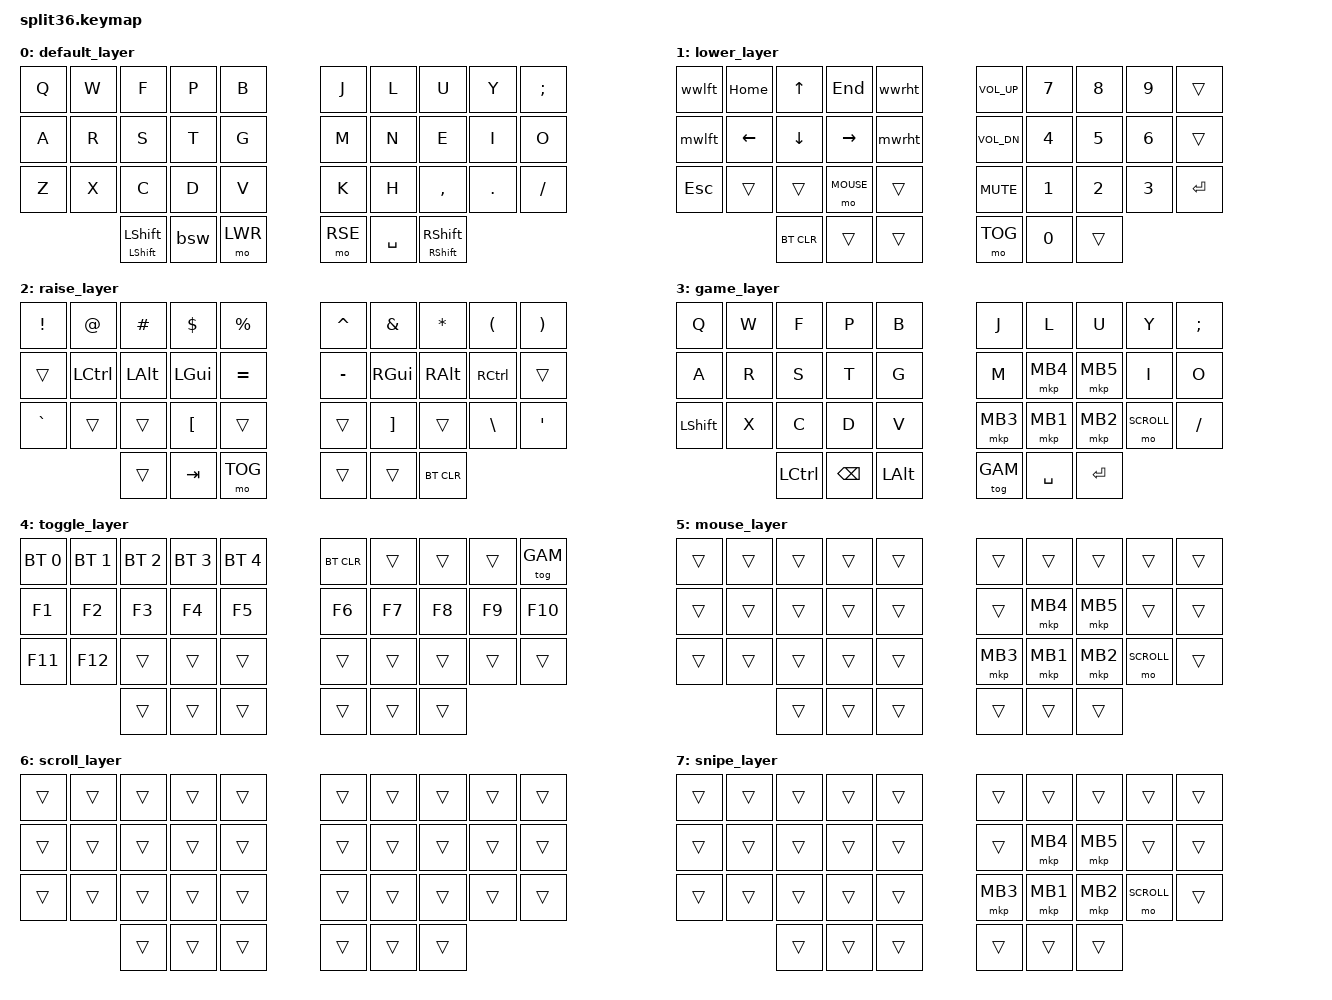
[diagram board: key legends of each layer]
#include <behaviors.dtsi>
#include <dt-bindings/zmk/keys.h>
#include <dt-bindings/zmk/bt.h>
#include <dt-bindings/zmk/outputs.h>
#include <dt-bindings/zmk/pointing.h>
#include <input/processors.dtsi>
#include <dt-bindings/zmk/input_transform.h>

#define LWR 1
#define RSE 2
#define GAM 3
#define TOG 4
#define MOUSE 5
#define SCROLL 6
#define SNIPE 7

&lt {
    tapping-term-ms = <175>;
};

/ {
    combos {
      compatible = "zmk,combos";

      combo_snipe {
        timeout-ms = <50>;
        key-positions = <22 23>;
        bindings = <&mo SNIPE>;
      };
    };
    macros {
      mft: momentary_from_toggle {
        compatible = "zmk,behavior-macro-two-param";
	      wait-ms = <0>;
	      tap-ms = <0>;
	      #binding-cells = <2>;
	      bindings =
		      <&macro_param_1to1>,
		      <&macro_tap &tog MACRO_PLACEHOLDER>,
		      <&macro_param_2to1>,
		      <&macro_press &mo MACRO_PLACEHOLDER>,
		      <&macro_pause_for_release>,
		      <&macro_param_2to1>,
		      <&macro_release &mo MACRO_PLACEHOLDER>,
		      <&macro_param_1to1>,
		      <&macro_tap &tog MACRO_PLACEHOLDER>;
	    };
        mwlft: mac_word_left {
            compatible = "zmk,behavior-macro";
            #binding-cells = <0>;
            bindings =
                <&macro_press &kp LALT>,
                <&macro_tap &kp LEFT>,
                <&macro_release &kp LALT>;
        };
        mwrht: mac_word_right {
            compatible = "zmk,behavior-macro";
            #binding-cells = <0>;
            bindings =
                <&macro_press &kp LALT>,
                <&macro_tap &kp RIGHT>,
                <&macro_release &kp LALT>;
        };
        wwlft: win_word_left {
            compatible = "zmk,behavior-macro";
            #binding-cells = <0>;
            bindings =
                <&macro_press &kp LCTRL>,
                <&macro_tap &kp LEFT>,
                <&macro_release &kp LCTRL>;
        };
        wwrht: win_word_right {
            compatible = "zmk,behavior-macro";
            #binding-cells = <0>;
            bindings =
                <&macro_press &kp LCTRL>,
                <&macro_tap &kp RIGHT>,
                <&macro_release &kp LCTRL>;
        };
        bswu: bspc_word_universal {
            compatible = "zmk,behavior-macro";
            #binding-cells = <0>;
            wait-ms = <5>;
            tap-ms = <5>;
            bindings =
                <&macro_tap &kp LC(BSPC)>,
                <&macro_tap &kp LA(BSPC)>;
        };
    };
    behaviors {
        bsw: bs_word {
            compatible = "zmk,behavior-mod-morph";
            #binding-cells = <0>;
            bindings = <&kp BSPC>, <&bswu>;
            mods = <(MOD_LSFT|MOD_RSFT)>;
        };
        skq: sticky_key_quick {
            compatible = "zmk,behavior-sticky-key";
            #binding-cells = <1>;
            bindings = <&kp>;
            release-after-ms = <1000>;
            quick-release;
        };
        shfmt: shift_mod_tap {
            compatible = "zmk,behavior-hold-tap";
            #binding-cells = <2>;
            flavor = "balanced";
            tapping-term-ms = <160>;
            quick-tap-ms = <125>;
            bindings = <&kp>, <&skq>;
            display-name = "Mod-Tap";
        };
    };
    keymap {
        compatible = "zmk,keymap";

        default_layer {
// -----------------------------------------------------------------
// | Q | W |  F  |  P  |  B  |        |  J  |  L  |  U  | Y | ; |
// | A | R |  S  |  T  |  G  |        |  M  |  N  |  E  | I | O |
// | Z | X |  C  |  D  |  V  |        |  K  |  H  |  ,  | . | / |
//         | SHF | BSP | LWR |        | RSE | SPC | SHF |
            bindings = <
                &kp Q &kp W &kp F &kp P &kp B                 &kp J &kp L &kp U &kp Y &kp SEMI
                &kp A &kp R &kp S &kp T &kp G                 &kp M &kp N &kp E &kp I &kp O
                &kp Z &kp X &kp C &kp D &kp V                 &kp K &kp H &kp COMMA &kp DOT &kp FSLH
                &shfmt LSHFT LSHFT &bsw &mo LWR       &mo RSE &kp SPACE &shfmt RSHFT RSHFT
            >;
        };
        lower_layer {
// ---------------------------------------------------------------------------
// | CTR+LFT | HOM | UP  |  END  | CTR+RT |        | VL- |  7  | 8 | 9 |     |
// | OPT+LFT | LFT | DWN |  RT   | OPT+RT |        | VL+ |  4  | 5 | 6 |     |
// |   ESC   |     |     | MOUSE |        |        | MUT |  1  | 2 | 3 | RET |
//                 | BTC |       |  ---   |        | TOG |  0  |   |
            bindings = <
                &wwlft &kp HOME &kp UP &kp END &wwrht            &kp C_VOL_UP &kp N7 &kp N8 &kp N9 &trans
                &mwlft &kp LEFT &kp DOWN &kp RIGHT &mwrht        &kp C_VOL_DN &kp N4 &kp N5 &kp N6 &trans
                &kp ESC &trans &trans &mo MOUSE &trans           &kp C_MUTE &kp N1 &kp N2 &kp N3 &kp RET
                &bt BT_CLR &trans &trans                         &mo TOG &kp N0 &trans
            >;
        };
        raise_layer {
// ------------------------------------------------------------------
// | ! |  @  |  #  |  $  |  %  |        |  ^  |  &  |  *  |  (  | ) |
// |   | CTR | ALT | GUI |  =  |        |  -  | GUI | ALT | CTR |   |
// | ` |     |     |  [  |     |        |     |  ]  |     |  \  | ' |
//           |     | TAB | TOG |        | --- |     | BTC |
            bindings = <
                &kp EXCL &kp AT &kp HASH &kp DLLR &kp PRCNT     &kp CARET &kp AMPS &kp STAR &kp LPAR &kp RPAR
                &trans &kp LCTRL &kp LALT &kp LGUI &kp EQUAL    &kp MINUS &kp RGUI &kp RALT &kp RCTRL &trans
                &kp GRAVE &trans &trans &kp LBKT &trans         &trans &kp RBKT &trans &kp BSLH &kp SQT
                &trans &kp TAB &mo TOG                          &trans &trans &bt BT_CLR
            >;
        };
        game_layer {
// ------------------------------------------------------------------
// |  Q  | W |  F  |  P  |  B  |        |  J  |  L  |  U  |  Y  | ; |
// |  A  | R |  S  |  T  |  G  |        |  M  | MB4 | MB5 |  I  | O |
// | SHF | X |  C  |  D  |  V  |        | MB3 | MB1 | MB2 | SCR | / |
//           | CTR | ALT | BSP |        | GAM | SPC | RET |
            bindings = <
                &kp Q &kp W &kp F &kp P &kp B       &kp J &kp L &kp U &kp Y &kp SEMI
                &kp A &kp R &kp S &kp T &kp G       &kp M &mkp MB4 &mkp MB5 &kp I &kp O
                &kp LSHFT &kp X &kp C &kp D &kp V   &mkp MB3 &mkp MB1 &mkp MB2 &mo SCROLL &kp FSLH
                &kp LCTRL &kp BSPC &kp LALT         &tog GAM &kp SPACE &kp RET
            >;
        };
        toggle_layer {
// -------------------------------------------------------------------
// | BT0 | BT1 | BT2 | BT3 | BT4 |        | BTC |    |    |    | GAM |
// | F1  | F2  | F3  | F4  | F5  |        | F6  | F7 | F8 | F9 | F10 |
// | F11 | F12 |     |     |     |        |     |    |    |    |     |
//             |     |     | --- |        | --- |    |    |
            bindings = <
                &bt BT_SEL 0 &bt BT_SEL 1 &bt BT_SEL 2 &bt BT_SEL 3 &bt BT_SEL 4    &bt BT_CLR &trans &trans &trans &tog GAM
                &kp F1 &kp F2 &kp F3 &kp F4 &kp F5                                  &kp F6 &kp F7 &kp F8 &kp F9 &kp F10
                &kp F11 &kp F12 &trans &trans &trans                                &trans &trans &trans &trans &trans
                &trans &trans &trans                                                &trans &trans &trans
            >;
        };
        mouse_layer {
// ----------------------------------------------------------
// |   |   |   |   |   |        |     |     |     |     |   |
// |   |   |   |   |   |        |     | MB4 | MB5 |     |   |
// |   |   |   |   |   |        | MB3 | MB1 | MB2 | SCR |   |
//         |   |   |   |        |     |     |     |
            bindings = <
                &trans &trans &trans &trans &trans      &trans &trans &trans &trans &trans
                &trans &trans &trans &trans &trans      &trans &mkp MB4 &mkp MB5 &trans &trans
                &trans &trans &trans &trans &trans      &mkp MB3 &mkp MB1 &mkp MB2 &mo SCROLL &trans
                &trans &trans &trans                    &trans &trans &trans
            >;
        };
        scroll_layer {
            bindings = <
                &trans &trans &trans &trans &trans      &trans &trans &trans &trans &trans
                &trans &trans &trans &trans &trans      &trans &trans &trans &trans &trans
                &trans &trans &trans &trans &trans      &trans &trans &trans &trans &trans
                &trans &trans &trans                    &trans &trans &trans
            >;
        };
        snipe_layer {
            bindings = <
                &trans &trans &trans &trans &trans      &trans &trans &trans &trans &trans
                &trans &trans &trans &trans &trans      &trans &mkp MB4 &mkp MB5 &trans &trans
                &trans &trans &trans &trans &trans      &mkp MB3 &mkp MB1 &mkp MB2 &mo SCROLL &trans
                &trans &trans &trans                    &trans &trans &trans
            >;
        };
    };
};

&trackball_listener {
        input-processors =
                <&zip_xy_scaler 1 1>;

        scroller {
                layers = <SCROLL>;
                input-processors =
                        <&zip_xy_to_scroll_mapper>,
                        <&zip_scroll_scaler 1 16>,
                        <&zip_scroll_transform (INPUT_TRANSFORM_Y_INVERT)>;
                process-next;
        };

        snipe {
                layers = <SNIPE>;
                input-processors = <&zip_xy_scaler 1 4>;
                process-next;
        };
};
